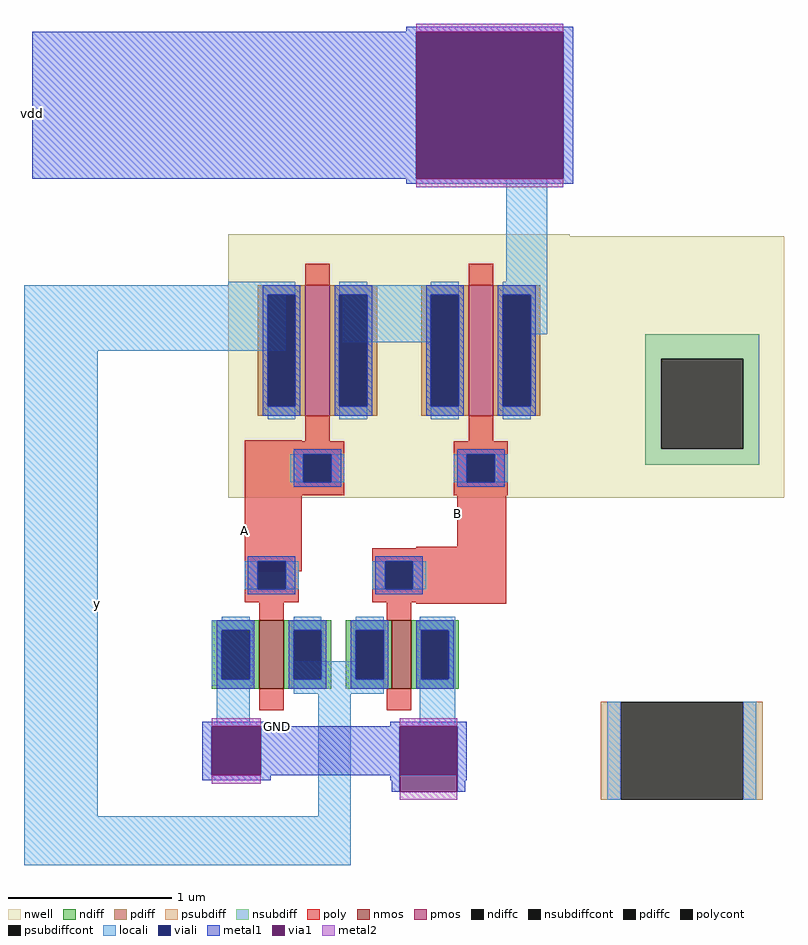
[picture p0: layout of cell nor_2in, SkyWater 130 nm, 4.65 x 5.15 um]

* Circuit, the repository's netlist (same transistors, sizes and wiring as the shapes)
* SPICE3 file created from /home/dhurga/circuit_sim/nor_2in.ext - technology: sky130A

.subckt sky130_fd_pr__pfet_01v8_L3EZX8 w_n109_n144# a_15_n44# a_n73_n44# a_n33_n141#
+ VSUBS
X0 a_15_n44# a_n33_n141# a_n73_n44# w_n109_n144# sky130_fd_pr__pfet_01v8 ad=2.32e+11p pd=2.18e+06u as=2.32e+11p ps=2.18e+06u w=800000u l=150000u
.ends

.subckt sky130_fd_pr__nfet_01v8_A64BNL a_n33_33# a_15_n73# a_n73_n73# VSUBS
X0 a_15_n73# a_n33_33# a_n73_n73# VSUBS sky130_fd_pr__nfet_01v8 ad=1.218e+11p pd=1.42e+06u as=1.218e+11p ps=1.42e+06u w=420000u l=150000u
.ends

.subckt x/home/dhurga/circuit_sim/nor_2in A B vdd y
Xsky130_fd_pr__pfet_01v8_L3EZX8_0 w_230_240# a_266_340# y A sky130_fd_pr__pfet_01v8_L3EZX8_0/VSUBS
+ sky130_fd_pr__pfet_01v8_L3EZX8
Xsky130_fd_pr__nfet_01v8_A64BNL_0 A y GND sky130_fd_pr__pfet_01v8_L3EZX8_0/VSUBS sky130_fd_pr__nfet_01v8_A64BNL
X0 GND B y sky130_fd_pr__pfet_01v8_L3EZX8_0/VSUBS sky130_fd_pr__nfet_01v8 ad=2.421e+11p pd=3.45e+06u as=2.394e+11p ps=2.82e+06u w=420000u l=120000u
X1 vdd B a_266_340# w_230_240# sky130_fd_pr__pfet_01v8 ad=2.32e+11p pd=2.18e+06u as=4.64e+11p ps=4.36e+06u w=800000u l=150000u
.ends

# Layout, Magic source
magic
tech sky130A
magscale 1 2
<< nwell >>
rect 230 560 448 562
rect 230 240 710 560
<< nmos >>
rect 230 6 254 90
<< pmos >>
rect 324 340 354 500
<< ndiff >>
rect 174 78 230 90
rect 174 18 186 78
rect 220 18 230 78
rect 174 6 230 18
rect 254 78 312 90
rect 254 18 266 78
rect 300 18 312 78
rect 254 6 312 18
<< pdiff >>
rect 266 488 324 500
rect 266 352 278 488
rect 312 352 324 488
rect 266 340 324 352
rect 354 488 412 500
rect 354 352 366 488
rect 400 352 412 488
rect 354 340 412 352
<< ndiffc >>
rect 186 18 220 78
rect 266 18 299 78
<< pdiffc >>
rect 278 352 312 488
rect 366 352 400 488
<< psubdiff >>
rect 486 -130 510 -10
rect 660 -130 684 -10
<< nsubdiff >>
rect 540 410 680 440
rect 540 300 560 410
rect 660 300 680 410
rect 540 280 680 300
<< psubdiffcont >>
rect 510 -130 660 -10
<< nsubdiffcont >>
rect 560 300 660 410
<< poly >>
rect 324 500 354 526
rect 50 150 120 310
rect 324 309 354 340
rect 306 293 372 309
rect 306 259 322 293
rect 356 259 372 293
rect 306 243 372 259
rect 310 180 370 243
rect 260 178 370 180
rect 206 162 370 178
rect 206 128 222 162
rect 256 128 370 162
rect 206 112 370 128
rect 224 90 254 112
rect 260 110 370 112
rect 224 -20 254 6
<< polycont >>
rect 322 259 356 293
rect 222 128 256 162
<< locali >>
rect 370 504 420 630
rect 30 500 100 504
rect 278 500 312 504
rect -220 420 100 500
rect 170 488 312 500
rect 170 430 278 488
rect -220 -150 -130 420
rect 278 336 312 352
rect 366 488 420 504
rect 400 440 420 488
rect 366 336 400 352
rect 306 259 322 293
rect 356 259 372 293
rect 206 128 222 162
rect 256 128 272 162
rect 10 10 60 90
rect 186 78 220 94
rect 264 78 308 94
rect 110 18 186 40
rect 299 18 308 78
rect 16 -40 56 10
rect 110 0 220 18
rect 140 -150 180 0
rect 264 -40 308 18
rect 494 -130 510 -10
rect 660 -130 676 -10
rect -220 -210 180 -150
<< viali >>
rect 260 630 440 810
rect 278 352 312 488
rect 366 352 400 488
rect 322 259 356 293
rect 222 128 256 162
rect 186 18 220 78
rect 266 18 299 78
rect 10 -100 70 -40
rect 240 -100 310 -40
<< metal1 >>
rect 248 810 452 816
rect -210 630 260 810
rect 440 630 452 810
rect 248 624 452 630
rect 272 488 318 500
rect 272 352 278 488
rect 312 352 318 488
rect 272 340 318 352
rect 360 488 406 500
rect 360 352 366 488
rect 400 352 406 488
rect 360 340 406 352
rect 310 293 368 299
rect 310 259 322 293
rect 356 259 368 293
rect 310 253 368 259
rect 210 162 268 168
rect 210 128 222 162
rect 256 128 268 162
rect 210 122 268 128
rect 180 78 226 90
rect 180 18 186 78
rect 220 18 226 78
rect 180 6 226 18
rect 260 78 306 90
rect 260 18 266 78
rect 300 18 306 78
rect 260 6 306 18
rect -2 -40 82 -34
rect 228 -40 322 -34
rect -2 -100 10 -40
rect 70 -100 240 -40
rect -2 -106 82 -100
rect 228 -106 240 -100
rect 230 -120 240 -106
rect 310 -106 322 -40
rect 310 -120 320 -106
<< via1 >>
rect 260 630 440 810
rect 10 -100 70 -40
rect 240 -100 310 -40
rect 240 -120 310 -100
<< metal2 >>
rect 260 810 440 820
rect 260 620 440 630
rect 10 -40 70 -30
rect 10 -110 70 -100
rect 240 -40 310 -30
rect 240 -130 310 -120
use sky130_fd_pr__nfet_01v8_A64BNL  sky130_fd_pr__nfet_01v8_A64BNL_0
transform 1 0 83 0 1 79
box -73 -99 73 99
use sky130_fd_pr__pfet_01v8_L3EZX8  sky130_fd_pr__pfet_01v8_L3EZX8_0
transform 1 0 139 0 1 384
box -109 -144 109 178
<< labels >>
rlabel metal1 -210 710 -210 710 1 vdd
port 3 n
rlabel poly 50 200 50 200 7 A
port 1 w
rlabel poly 310 220 310 220 7 B
port 2 w
rlabel locali -130 110 -130 110 3 y
port 4 e
rlabel metal1 90 -40 90 -40 5 GND
port 5 s
<< end >>

# cell sky130_fd_pr__nfet_01v8_A64BNL: kit device sky130_fd_pr__nfet_01v8, w 0.420 l 0.150 m 1 nf 1 diffcov 100 polycov 100 guard 0 glc 0 grc 0 gtc 0 gbc 0 tbcov 100 rlcov 100 topc 1 botc 0 poverlap 0 doverlap 0 lmin 0.15 wmin 0.42 compatible {sky130_fd_pr__nfet_01v8 sky130_fd_pr__nfet_01v8_lvt sky130_fd_bs_flash__special_sonosfet_star sky130_fd_pr__nfet_g5v0d10v5 sky130_fd_pr__nfet_05v0_nvt sky130_fd_pr__nfet_03v3_nvt} full_metal 0 viasrc 100 viadrn 100 viagate 100 viagb 0 viagr 0 viagl 0 viagt 0

# cell sky130_fd_pr__pfet_01v8_L3EZX8: kit device sky130_fd_pr__pfet_01v8, w 0.8 l 0.15 m 1 nf 1 diffcov 100 polycov 100 guard 0 glc 0 grc 0 gtc 0 gbc 0 tbcov 100 rlcov 100 topc 0 botc 1 poverlap 0 doverlap 0 lmin 0.15 wmin 0.42 compatible {sky130_fd_pr__pfet_01v8 sky130_fd_pr__pfet_01v8_lvt sky130_fd_pr__pfet_01v8_hvt sky130_fd_pr__pfet_g5v0d10v5} full_metal 0 viasrc 100 viadrn 100 viagate 100 viagb 0 viagr 0 viagl 0 viagt 0
